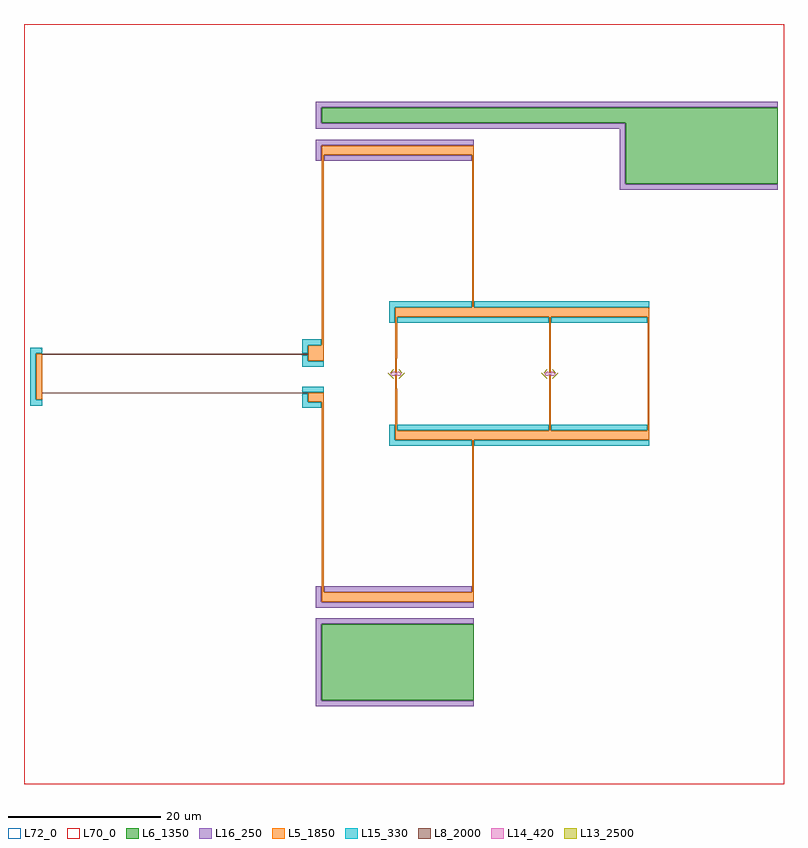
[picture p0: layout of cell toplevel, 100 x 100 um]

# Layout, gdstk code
from math import pi, radians
import gdstk
lib = gdstk.Library(unit=1e-6, precision=1e-09)
def R(c, l, rs):  # rectangles x0, y0, x1, y1
    for r in rs: c.add(gdstk.rectangle(r[:2], r[2:], *l))
def P(c, l, *ps):  # polygons
    for p in ps: c.add(gdstk.Polygon(p, *l))
L5_1850 = (5, 1850)
L6_1350 = (6, 1350)
L8_2000 = (8, 2000)
L13_2500 = (13, 2500)
L14_420 = (14, 420)
L15_330 = (15, 330)
L16_250 = (16, 250)
L70_0 = (70, 0)
L72_0 = (72, 0)

rectangle011 = lib.new_cell('rectangle011')
R(rectangle011, L5_1850, [(0,0,0.2,1.8)])

jj_top = lib.new_cell('JJ Top')
jj_top.add(gdstk.Reference(rectangle011, (-0.1,0.2)))

rectangle012 = lib.new_cell('rectangle012')
R(rectangle012, L5_1850, [(0,0,0.2,1.8)])

jj_bot = lib.new_cell('JJ Bot')
jj_bot.add(gdstk.Reference(rectangle012, (-0.1,-2)))

rectangle013 = lib.new_cell('rectangle013')
R(rectangle013, L5_1850, [(0,0,0.22,5.5)])

top_arm = lib.new_cell('Top Arm')
top_arm.add(gdstk.Reference(rectangle013, (-0.11,2)))

rectangle014 = lib.new_cell('rectangle014')
R(rectangle014, L5_1850, [(0,0,0.22,5.5)])

bot_arm = lib.new_cell('Bot Arm')
bot_arm.add(gdstk.Reference(rectangle014, (-0.11,-7.5)))

junction = lib.new_cell('Junction')
junction.add(gdstk.Reference(jj_top, (0,0)))
junction.add(gdstk.Reference(jj_bot, (0,0)))
junction.add(gdstk.Reference(top_arm, (0,0)))
junction.add(gdstk.Reference(bot_arm, (0,0)))

rectangle015 = lib.new_cell('rectangle015')
P(rectangle015, L13_2500, [(0.376,0.563),(0.8,0.139),(0.736,0.075),(0.312,0.499)])

rectangle016 = lib.new_cell('rectangle016')
P(rectangle016, L13_2500, [(0.376,0.663),(1.1,-0.061),(1.036,-0.125),(0.312,0.599)])

boolean017 = lib.new_cell('boolean017')
P(boolean017, L14_420, [(-0.2,-0.125),(0.2,-0.125),(0.2,-0.25),(0.52,-0.25),(0.7,-0.07),(0.7,-0.03),(0.42,0.25),(0.2,0.25),(0.2,0.125),(-0.2,0.125),(-0.2,0.25),(-0.42,0.25),(-0.7,-0.03),(-0.7,-0.07),(-0.52,-0.25),(-0.2,-0.25)])

h_undercut_with_asymmetr = lib.new_cell('H undercut with asymmetric s')
h_undercut_with_asymmetr.add(gdstk.Reference(rectangle015, (0,0)))
h_undercut_with_asymmetr.add(gdstk.Reference(rectangle016, (0,0), x_reflection=True))
h_undercut_with_asymmetr.add(gdstk.Reference(rectangle015, (0,0), rotation=pi, x_reflection=True))
h_undercut_with_asymmetr.add(gdstk.Reference(rectangle016, (0,0), rotation=pi))
h_undercut_with_asymmetr.add(gdstk.Reference(boolean017, (0,0)))

josephson_junction = lib.new_cell('Josephson Junction')
josephson_junction.add(gdstk.Reference(junction, (0,0)))
josephson_junction.add(gdstk.Reference(h_undercut_with_asymmetr, (0,0)))

rectangle020 = lib.new_cell('rectangle020')
R(rectangle020, L5_1850, [(0,0,0.2,1.8)])

jj_top019 = lib.new_cell('JJ Top019')
jj_top019.add(gdstk.Reference(rectangle020, (-0.1,0.2)))

rectangle022 = lib.new_cell('rectangle022')
R(rectangle022, L5_1850, [(0,0,0.2,1.8)])

jj_bot021 = lib.new_cell('JJ Bot021')
jj_bot021.add(gdstk.Reference(rectangle022, (-0.1,-2)))

rectangle024 = lib.new_cell('rectangle024')
R(rectangle024, L5_1850, [(0,0,0.22,5.5)])

top_arm023 = lib.new_cell('Top Arm023')
top_arm023.add(gdstk.Reference(rectangle024, (-0.11,2)))

rectangle026 = lib.new_cell('rectangle026')
R(rectangle026, L5_1850, [(0,0,0.22,5.5)])

bot_arm025 = lib.new_cell('Bot Arm025')
bot_arm025.add(gdstk.Reference(rectangle026, (-0.11,-7.5)))

junction027 = lib.new_cell('Junction027')
junction027.add(gdstk.Reference(jj_top019, (0,0)))
junction027.add(gdstk.Reference(jj_bot021, (0,0)))
junction027.add(gdstk.Reference(top_arm023, (0,0)))
junction027.add(gdstk.Reference(bot_arm025, (0,0)))

rectangle029 = lib.new_cell('rectangle029')
P(rectangle029, L13_2500, [(0.376,0.563),(0.8,0.139),(0.736,0.075),(0.312,0.499)])

rectangle030 = lib.new_cell('rectangle030')
P(rectangle030, L13_2500, [(0.376,0.663),(1.1,-0.061),(1.036,-0.125),(0.312,0.599)])

boolean031 = lib.new_cell('boolean031')
P(boolean031, L14_420, [(-0.2,-0.125),(0.2,-0.125),(0.2,-0.25),(0.52,-0.25),(0.7,-0.07),(0.7,-0.03),(0.42,0.25),(0.2,0.25),(0.2,0.125),(-0.2,0.125),(-0.2,0.25),(-0.42,0.25),(-0.7,-0.03),(-0.7,-0.07),(-0.52,-0.25),(-0.2,-0.25)])

c_h_undercut_with_asymmetr = lib.new_cell('H undercut with asymmetric s028')
c_h_undercut_with_asymmetr.add(gdstk.Reference(rectangle029, (0,0)))
c_h_undercut_with_asymmetr.add(gdstk.Reference(rectangle030, (0,0), x_reflection=True))
c_h_undercut_with_asymmetr.add(gdstk.Reference(rectangle029, (0,0), rotation=pi, x_reflection=True))
c_h_undercut_with_asymmetr.add(gdstk.Reference(rectangle030, (0,0), rotation=pi))
c_h_undercut_with_asymmetr.add(gdstk.Reference(boolean031, (0,0)))

josephson_junction018 = lib.new_cell('Josephson Junction018')
josephson_junction018.add(gdstk.Reference(junction027, (0,0)))
josephson_junction018.add(gdstk.Reference(c_h_undercut_with_asymmetr, (0,0)))

rectangle032 = lib.new_cell('rectangle032')
R(rectangle032, L5_1850, [(0,0,20.44,1.2)])

island = lib.new_cell('Island')
island.add(gdstk.Reference(rectangle032, (0,0)))

top_island = lib.new_cell('Top island')
top_island.add(gdstk.Reference(island, (-0.11,7.5)))

rectangle034 = lib.new_cell('rectangle034')
R(rectangle034, L5_1850, [(0,0,20.44,1.2)])

island033 = lib.new_cell('Island033')
island033.add(gdstk.Reference(rectangle034, (0,0)))

bot_island = lib.new_cell('Bot island')
bot_island.add(gdstk.Reference(island033, (-0.11,-8.7)))

rectangle037 = lib.new_cell('rectangle037')
R(rectangle037, L5_1850, [(0,-20.1,0.22,0)])

connector036 = lib.new_cell('Connector036')
connector036.add(gdstk.Reference(rectangle037, (0,0)))

top_connector035 = lib.new_cell('Top connector035')
top_connector035.add(gdstk.Reference(connector036, (10,28.8)))

rectangle040 = lib.new_cell('rectangle040')
R(rectangle040, L5_1850, [(0,-20.1,0.22,0)])

connector039 = lib.new_cell('Connector039')
connector039.add(gdstk.Reference(rectangle040, (0,0)))

bot_connector038 = lib.new_cell('Bot connector038')
bot_connector038.add(gdstk.Reference(connector039, (10,-28.8), x_reflection=True))

rectangle041 = lib.new_cell('rectangle041')
R(rectangle041, L5_1850, [(0,0,13,1.2)])

rectangle042 = lib.new_cell('rectangle042')
R(rectangle042, L5_1850, [(0,-16.2,13,-15)])

rectangle043 = lib.new_cell('rectangle043')
R(rectangle043, L5_1850, [(0,-15,0.22,0)])

short = lib.new_cell('Short')
short.add(gdstk.Reference(rectangle041, (0,0)))
short.add(gdstk.Reference(rectangle042, (0,0)))
short.add(gdstk.Reference(rectangle043, (0,0)))

boolean046 = lib.new_cell('boolean046')
R(boolean046, L15_330, [(10.28,-9.5,33.33,-8.76), (0.17,-7.44,20.05,-6.7), (20.39,-7.44,33.05,-6.7), (0.17,6.7,20.05,7.44), (20.39,6.7,33.05,7.44), (10.28,8.76,33.33,9.5)])
P(boolean046, L15_330, [(-0.17,8.76),(9.94,8.76),(9.94,9.5),(-0.91,9.5),(-0.91,6.7),(-0.17,6.7)],
  [(9.94,-8.76),(-0.17,-8.76),(-0.17,-6.7),(-0.91,-6.7),(-0.91,-9.5),(9.94,-9.5)])

liftoff_undercut045 = lib.new_cell('Liftoff undercut045')
liftoff_undercut045.add(gdstk.Reference(boolean046, (0,0)))

liftoff_undercut044 = lib.new_cell('Liftoff undercut044')
liftoff_undercut044.add(gdstk.Reference(liftoff_undercut045, (0,0)))

squid = lib.new_cell('Squid')
squid.add(gdstk.Reference(josephson_junction, (-10.11,0)))
squid.add(gdstk.Reference(josephson_junction018, (10.11,0)))
squid.add(gdstk.Reference(top_island, (-10.11,0)))
squid.add(gdstk.Reference(bot_island, (-10.11,0)))
squid.add(gdstk.Reference(top_connector035, (-10.11,0)))
squid.add(gdstk.Reference(bot_connector038, (-10.11,0)))
squid.add(gdstk.Reference(short, (23.22,-7.5), rotation=pi))
squid.add(gdstk.Reference(liftoff_undercut044, (-10.11,0)))

rectangle050 = lib.new_cell('rectangle050')
R(rectangle050, L5_1850, [(-20,-25.1,-19.78,0)])

rectangle049 = lib.new_cell('rectangle049')
R(rectangle049, L5_1850, [(-20,0,0,1.2)])

connector048 = lib.new_cell('Connector048')
connector048.add(gdstk.Reference(rectangle049, (0,0)))

boolean051 = lib.new_cell('boolean051')

rectangle053 = lib.new_cell('rectangle053')
R(rectangle053, L6_1350, [(-20,0,0,2)])

connector052 = lib.new_cell('Connector052')
connector052.add(gdstk.Reference(rectangle053, (0,4.2)))

boolean054 = lib.new_cell('boolean054')

undercut = lib.new_cell('Undercut')
undercut.add(gdstk.Reference(boolean054, (0,4.2)))

boolean055 = lib.new_cell('boolean055')

rectangle057 = lib.new_cell('rectangle057')
R(rectangle057, L6_1350, [(-20,0,0,10)])

connector056 = lib.new_cell('Connector056')
connector056.add(gdstk.Reference(rectangle057, (0,0)))

boolean059 = lib.new_cell('boolean059')

undercut058 = lib.new_cell('Undercut058')
undercut058.add(gdstk.Reference(boolean059, (0,0)))

rectangle061 = lib.new_cell('rectangle061')
R(rectangle061, L6_1350, [(-20,0,0,2)])

connector060 = lib.new_cell('Connector060')
connector060.add(gdstk.Reference(rectangle061, (-20,8)))

boolean063 = lib.new_cell('boolean063')

undercut062 = lib.new_cell('Undercut062')
undercut062.add(gdstk.Reference(boolean063, (-20,8)))

bot_overlap_box = lib.new_cell('Bot Overlap Box')
bot_overlap_box.add(gdstk.Reference(connector056, (59.89,25)))
bot_overlap_box.add(gdstk.Reference(undercut058, (59.89,25)))
bot_overlap_box.add(gdstk.Reference(connector060, (59.89,25)))
bot_overlap_box.add(gdstk.Reference(undercut062, (59.89,25)))

connector047 = lib.new_cell('Connector047')
connector047.add(gdstk.Reference(rectangle050, (19.89,28.8)))
connector047.add(gdstk.Reference(connector048, (19.89,28.8)))
connector047.add(gdstk.Reference(boolean051, (19.89,28.8)))
connector047.add(gdstk.Reference(connector052, (19.89,28.8)))
connector047.add(gdstk.Reference(undercut, (19.89,28.8)))
connector047.add(gdstk.Reference(boolean055, (0,0)))
connector047.add(gdstk.Reference(bot_overlap_box, (0,0)))

rectangle067 = lib.new_cell('rectangle067')
R(rectangle067, L5_1850, [(-20,-25.1,-19.78,0)])

rectangle066 = lib.new_cell('rectangle066')
R(rectangle066, L5_1850, [(-20,0,0,1.2)])

connector065 = lib.new_cell('Connector065')
connector065.add(gdstk.Reference(rectangle066, (0,0)))

boolean068 = lib.new_cell('boolean068')

rectangle070 = lib.new_cell('rectangle070')
R(rectangle070, L6_1350, [(-20,0,0,10)])

connector069 = lib.new_cell('Connector069')
connector069.add(gdstk.Reference(rectangle070, (0,4.2)))

boolean072 = lib.new_cell('boolean072')

undercut071 = lib.new_cell('Undercut071')
undercut071.add(gdstk.Reference(boolean072, (0,4.2)))

boolean073 = lib.new_cell('boolean073')

connector064 = lib.new_cell('Connector064')
connector064.add(gdstk.Reference(rectangle067, (19.89,28.8)))
connector064.add(gdstk.Reference(connector065, (19.89,28.8)))
connector064.add(gdstk.Reference(boolean068, (19.89,28.8)))
connector064.add(gdstk.Reference(connector069, (19.89,28.8)))
connector064.add(gdstk.Reference(undercut071, (19.89,28.8)))
connector064.add(gdstk.Reference(boolean073, (0,0)))

rectangle004 = lib.new_cell('rectangle004')
R(rectangle004, L5_1850, [(0,0,0.8,5.22)])

rectangle005 = lib.new_cell('rectangle005')
R(rectangle005, L5_1850, [(0,-0.8,0.8,0)])

arm_connector = lib.new_cell('Arm connector')
arm_connector.add(gdstk.Reference(rectangle004, (-0.8,-5.11)))
arm_connector.add(gdstk.Reference(rectangle005, (-0.8,-5.11)))

arms = lib.new_cell('Arms')
arms.add(gdstk.Reference(arm_connector, (0,0)))

rectangle = lib.new_cell('rectangle')
R(rectangle, L8_2000, [(0,0,35,0.11)])

resistive_segment = lib.new_cell('Resistive segment')
resistive_segment.add(gdstk.Reference(rectangle, (0,0)))

rectangle003 = lib.new_cell('rectangle003')
R(rectangle003, L8_2000, [(0,0,35,0.11)])

resistive_segment002 = lib.new_cell('Resistive segment002')
resistive_segment002.add(gdstk.Reference(rectangle003, (0,-5.11)))

resistive_segments = lib.new_cell('Resistive segments')
resistive_segments.add(gdstk.Reference(resistive_segment, (0,0)))
resistive_segments.add(gdstk.Reference(resistive_segment002, (0,0)))

boolean = lib.new_cell('boolean')

boolean010 = lib.new_cell('boolean010')

liftoff_undercut = lib.new_cell('Liftoff undercut')
liftoff_undercut.add(gdstk.Reference(boolean, (0,0)))
liftoff_undercut.add(gdstk.Reference(boolean010, (0,0)))

rectangle006 = lib.new_cell('rectangle006')
R(rectangle006, L5_1850, [(-2,0,0,1.2)])

connector = lib.new_cell('Connector')
connector.add(gdstk.Reference(rectangle006, (0,0)))

rectangle007 = lib.new_cell('rectangle007')
R(rectangle007, L5_1850, [(-2,-0.8,0,0)])

top_connector = lib.new_cell('Top connector')
top_connector.add(gdstk.Reference(connector, (35,0), rotation=pi, x_reflection=True))
top_connector.add(gdstk.Reference(rectangle007, (35,0), rotation=pi, x_reflection=True))

rectangle009 = lib.new_cell('rectangle009')
R(rectangle009, L5_1850, [(-2,0,0,1.2)])

connector008 = lib.new_cell('Connector008')
connector008.add(gdstk.Reference(rectangle009, (35,-6.2), rotation=pi, x_reflection=True))

bot_connector = lib.new_cell('Bot connector')
bot_connector.add(gdstk.Reference(connector008, (0,0)))

boolean074 = lib.new_cell('boolean074')
R(boolean074, L15_330, [(-22.47,-2.44,-19.67,-1.7)])
P(boolean074, L15_330, [(-21.73,3.76),(-19.95,3.76),(-19.95,4.5),(-22.47,4.5),(-22.47,2.67),(-21.73,2.67)],
  [(-56.67,-3.47),(-57.53,-3.47),(-57.53,2.67),(-56.67,2.67),(-56.67,3.41),(-58.27,3.41),(-58.27,-4.21),(-56.67,-4.21)],
  [(-19.67,1.64),(-21.73,1.64),(-21.73,2.44),(-22.47,2.44),(-22.47,0.9),(-19.67,0.9)],
  [(-19.95,-3.76),(-21.73,-3.76),(-21.73,-2.67),(-22.47,-2.67),(-22.47,-4.5),(-19.95,-4.5)])

resistor = lib.new_cell('Resistor')
resistor.add(gdstk.Reference(arms, (-56.67,2.5)))
resistor.add(gdstk.Reference(resistive_segments, (-56.67,2.5)))
resistor.add(gdstk.Reference(liftoff_undercut, (-56.67,2.5)))
resistor.add(gdstk.Reference(top_connector, (-56.67,2.5)))
resistor.add(gdstk.Reference(bot_connector, (-56.67,2.5)))
resistor.add(gdstk.Reference(boolean074, (0,0)))

boolean075 = lib.new_cell('boolean075')
R(boolean075, L16_250, [(-19.6,-28.74,-0.17,-28), (-19.6,28,-0.17,28.74)])
P(boolean075, L16_250, [(-19.95,32.94),(-19.95,35.06),(40.11,35.06),(40.11,35.8),(-20.69,35.8),(-20.69,32.2),(19.31,32.2),(19.31,24.2),(40.11,24.2),(40.11,24.94),(20.05,24.94),(20.05,32.94)],
  [(-19.96,28.87),(-19.95,28.87),(-19.95,30.06),(0.11,30.06),(0.11,30.8),(-20.69,30.8),(-20.69,28),(-19.96,28)],
  [(0.11,-30.06),(-19.95,-30.06),(-19.95,-28.87),(-19.96,-28.87),(-19.96,-28),(-20.69,-28),(-20.69,-30.8),(0.11,-30.8)],
  [(0.11,-43.06),(-19.95,-43.06),(-19.95,-32.94),(0.11,-32.94),(0.11,-32.2),(-20.69,-32.2),(-20.69,-43.8),(0.11,-43.8)])

rectangle077 = lib.new_cell('rectangle077')
R(rectangle077, L72_0, [(0,0,100,100)])

working_area = lib.new_cell('Working area')
working_area.add(gdstk.Reference(rectangle077, (-59.08,-54)))

rectangle076 = lib.new_cell('rectangle076')
R(rectangle076, L70_0, [(0,0,100,100)])

writefield = lib.new_cell('Writefield')
writefield.add(gdstk.Reference(rectangle076, (-59.08,-54)))

toplevel = lib.new_cell('toplevel')
toplevel.add(gdstk.Reference(squid, (0,0)))
toplevel.add(gdstk.Reference(connector047, (-19.78,0)))
toplevel.add(gdstk.Reference(connector064, (-19.78,0), x_reflection=True))
toplevel.add(gdstk.Reference(resistor, (0,0)))
toplevel.add(gdstk.Reference(boolean075, (0,0)))
toplevel.add(gdstk.Reference(working_area, (0,0)))
toplevel.add(gdstk.Reference(writefield, (0,0)))

lib.write_gds('toplevel.gds')
